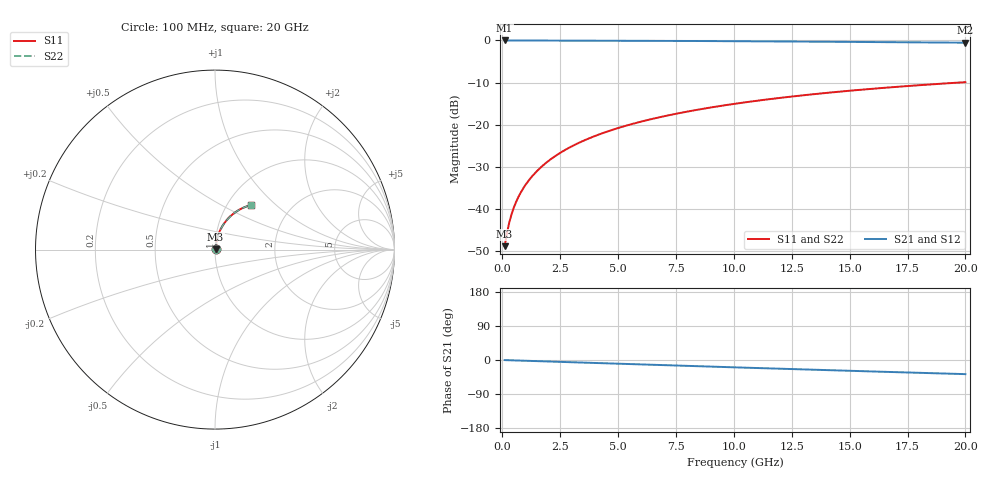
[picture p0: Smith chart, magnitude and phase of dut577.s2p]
! Touchstone file exported from HFSS 2026.1.0
!  File:  C:/ffzhzh/LocalFiles/Ansys_Project_Files/temp_train_TMRDL_577_1783008157_46388.aedt
!  Generated:  12:04:03 AM Jul  3, 2026
!  Design:  TMRDL
!  Project:  temp_train_TMRDL_577_1783008157_46388
! Variables:
!  h_bsmrdl = 2um
!  h_ox = 20um
!  h_rdl = 5um
!  h_sub = 80um
!  h_tmrdl = 2.74um
!  h_tsv = 80um
!  h_via = 3um
!  l_bsmrdl = 300um
!  l_sub = 942.84um
!  l_tmrdl = 542.84um
!  m_sub = 200um
!  pitch = 49.54um
!  r_tsv = 6um
!  s_tmrdl = 10um
!  w_bsmrdl = 18um
!  w_sub = 500um
!  w_tmrdl = 26.42um
!  x_tsv_center1 = 556.05um
!  x_tsv_center2 = 874.05um
!  x_tsv_center3 = 1443.31um
!  x_tsv_center4 = 1761.31um
!  x_tsv_center5 = 2330.57um
!  x_tsv_center6 = 2648.57um
# GHz S MA R 50.000000
! Terminal data exported
! Port[1] = TM_RDL1_1_T1
! Port[2] = TM_RDL1_1_T2
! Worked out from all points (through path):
!   200 points, 100 MHz to 20 GHz, reference 50 ohm
!   highest |S21| = -0.03 dB at 100 MHz (marker M1); lowest = -0.6 dB at 20 GHz (marker M2)
!   group delay of S21, straight-line fit = 5.18 ps
!   lowest |S11| = -48.8 dB at 100 MHz (marker M3), VSWR 1.01, Z = 50.3 + j0.209 ohm
!   |S11| at or under -10 dB: start of sweep to 19.77 GHz
!   |S22| runs from -48.8 to -9.9 dB; largest |S21 - S12| = 3.1e-15
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0.1  0.003619 35.1  0.997 -0.2  0.997 -0.2  0.003619 35.1
! Gamma 0 0 0 0
! Port Impedance 50 0 50 0
0.2  0.005151 52.7  0.9969 -0.4  0.9969 -0.4  0.005151 52.7
0.3  0.006888 61.1  0.9967 -0.6  0.9967 -0.6  0.006888 61.1
0.4  0.008655 65.9  0.9965 -0.8  0.9965 -0.8  0.008655 65.9
0.5  0.01042 69.0  0.9964 -1.0  0.9964 -1.0  0.01042 69.0
0.6  0.01218 71.3  0.9963 -1.2  0.9963 -1.2  0.01218 71.3
0.8  0.0157 74.3  0.9961 -1.6  0.9961 -1.6  0.0157 74.3
1.1  0.02103 77.0  0.9958 -2.2  0.9958 -2.2  0.02103 77.0
1.3  0.02461 78.0  0.9957 -2.6  0.9957 -2.6  0.02461 78.0
1.6  0.03 79.0  0.9955 -3.2  0.9955 -3.2  0.03 79.0
2.1  0.03904 79.7  0.995 -4.1  0.995 -4.1  0.03904 79.7
2.7  0.04989 79.7  0.9944 -5.3  0.9944 -5.3  0.0499 79.7
3.5  0.06433 79.1  0.9934 -6.9  0.9934 -6.9  0.06433 79.0
4.2  0.07689 78.2  0.9923 -8.2  0.9923 -8.2  0.07689 78.2
5  0.09113 77.0  0.9908 -9.8  0.9908 -9.8  0.09113 77.0
5.9  0.107 75.6  0.9889 -11.5  0.9889 -11.5  0.107 75.6
6.8  0.1226 74.1  0.9867 -13.3  0.9867 -13.3  0.1226 74.1
8.3  0.1481 71.4  0.9827 -16.1  0.9827 -16.1  0.1481 71.4
10.1  0.1778 68.2  0.977 -19.5  0.977 -19.5  0.1778 68.2
13.4  0.2291 62.4  0.9652 -25.6  0.9652 -25.6  0.2291 62.3
16.7  0.2763 56.6  0.952 -31.5  0.952 -31.5  0.2764 56.6
20  0.3191 51.0  0.938 -37.3  0.938 -37.3  0.3191 51.0
